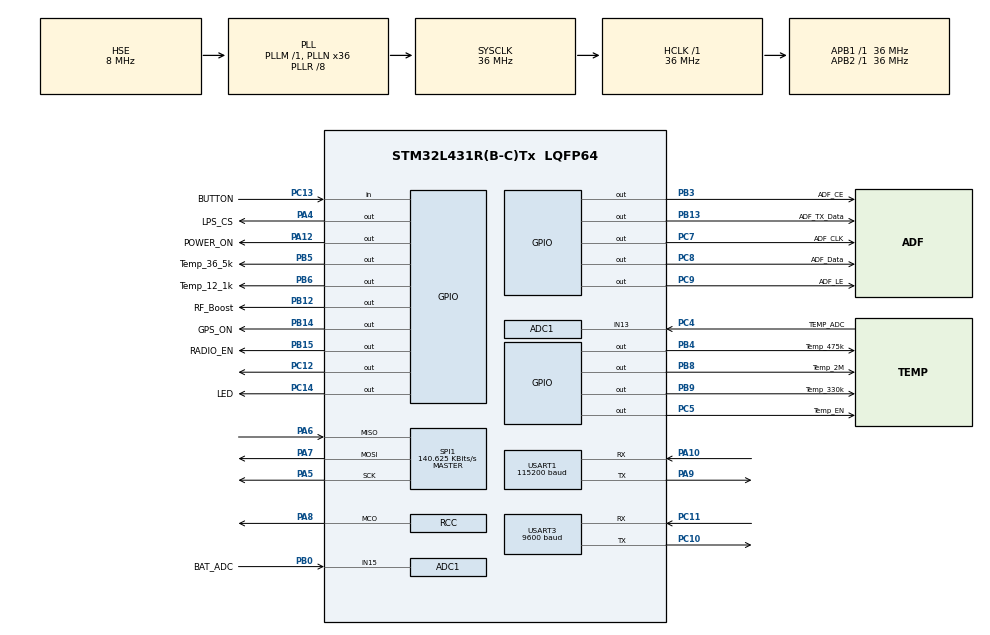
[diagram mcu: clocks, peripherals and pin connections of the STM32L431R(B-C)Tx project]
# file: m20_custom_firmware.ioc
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ADC1.Channel-1\#ChannelRegularConversion=ADC_CHANNEL_15
ADC1.Channel-2\#ChannelRegularConversion=ADC_CHANNEL_13
ADC1.ClockPrescaler=ADC_CLOCK_ASYNC_DIV128
ADC1.ContinuousConvMode=DISABLE
ADC1.DMAContinuousRequests=DISABLE
ADC1.DiscontinuousConvMode=DISABLE
ADC1.NbrOfConversion=2
ADC1.NbrOfConversionFlag=1
ADC1.OffsetNumber-1\#ChannelRegularConversion=ADC_OFFSET_NONE
ADC1.OffsetNumber-2\#ChannelRegularConversion=ADC_OFFSET_NONE
ADC1.Rank-1\#ChannelRegularConversion=1
ADC1.Rank-2\#ChannelRegularConversion=2
ADC1.SamplingTime-1\#ChannelRegularConversion=ADC_SAMPLETIME_12CYCLES_5
ADC1.SamplingTime-2\#ChannelRegularConversion=ADC_SAMPLETIME_12CYCLES_5
ADC1.master=1
Dma.Request0=USART3_RX
Dma.USART3_RX.0.Direction=DMA_PERIPH_TO_MEMORY
Dma.USART3_RX.0.Instance=DMA1_Channel3
Dma.USART3_RX.0.MemDataAlignment=DMA_MDATAALIGN_BYTE
Dma.USART3_RX.0.MemInc=DMA_MINC_ENABLE
Dma.USART3_RX.0.Mode=DMA_NORMAL
Dma.USART3_RX.0.PeriphDataAlignment=DMA_PDATAALIGN_BYTE
Dma.USART3_RX.0.PeriphInc=DMA_PINC_DISABLE
Dma.USART3_RX.0.Priority=DMA_PRIORITY_VERY_HIGH
Mcu.Family=STM32L4
Mcu.Name=STM32L431R(B-C)Tx
Mcu.Package=LQFP64
NVIC.DMA1_Channel3_IRQn=true\:0\:0\:false\:false\:true\:false\:true\:true
NVIC.PriorityGroup=NVIC_PRIORITYGROUP_4
NVIC.TIM1_UP_TIM16_IRQn=true\:0\:0\:false\:false\:true\:true\:true\:true
NVIC.TIM2_IRQn=true\:0\:0\:false\:false\:true\:true\:true\:true
PA10.Mode=Asynchronous
PA10.Signal=USART1_RX
PA12.GPIO_Label=POWER_ON
PA12.Signal=GPIO_Output
PA4.GPIO_Label=LPS_CS
PA4.Signal=GPIO_Output
PA5.Mode=Full_Duplex_Master
PA5.Signal=SPI1_SCK
PA6.Mode=Full_Duplex_Master
PA6.Signal=SPI1_MISO
PA7.Mode=Full_Duplex_Master
PA7.Signal=SPI1_MOSI
PA8.Mode=Clock-out
PA8.Signal=RCC_MCO
PA9.Mode=Asynchronous
PA9.Signal=USART1_TX
PB0.GPIO_Label=BAT_ADC
PB0.Signal=ADCx_IN15
PB12.GPIO_Label=RF_Boost
PB12.Signal=GPIO_Output
PB13.GPIO_Label=ADF_TX_Data
PB13.Signal=GPIO_Output
PB14.GPIO_Label=GPS_ON
PB14.Signal=GPIO_Output
PB15.GPIO_Label=RADIO_EN
PB15.Signal=GPIO_Output
PB3\ (JTDO-TRACESWO).GPIO_Label=ADF_CE
PB3\ (JTDO-TRACESWO).Signal=GPIO_Output
PB4\ (NJTRST).GPIO_Label=Temp_475k
PB4\ (NJTRST).GPIO_ModeDefaultOutputPP=GPIO_MODE_OUTPUT_OD
PB4\ (NJTRST).GPIO_PuPd=GPIO_NOPULL
PB4\ (NJTRST).PinState=GPIO_PIN_SET
PB4\ (NJTRST).Signal=GPIO_Output
PB5.GPIO_Label=Temp_36_5k
PB5.GPIO_ModeDefaultOutputPP=GPIO_MODE_OUTPUT_OD
PB5.GPIO_PuPd=GPIO_NOPULL
PB5.PinState=GPIO_PIN_SET
PB5.Signal=GPIO_Output
PB6.GPIO_Label=Temp_12_1k
PB6.GPIO_ModeDefaultOutputPP=GPIO_MODE_OUTPUT_OD
PB6.GPIO_PuPd=GPIO_NOPULL
PB6.PinState=GPIO_PIN_SET
PB6.Signal=GPIO_Output
PB8.GPIO_Label=Temp_2M
PB8.GPIO_ModeDefaultOutputPP=GPIO_MODE_OUTPUT_OD
PB8.GPIO_PuPd=GPIO_NOPULL
PB8.PinState=GPIO_PIN_SET
PB8.Signal=GPIO_Output
PB9.GPIO_Label=Temp_330k
PB9.GPIO_ModeDefaultOutputPP=GPIO_MODE_OUTPUT_OD
PB9.GPIO_PuPd=GPIO_NOPULL
PB9.PinState=GPIO_PIN_SET
PB9.Signal=GPIO_Output
PC10.Mode=Asynchronous
PC10.Signal=USART3_TX
PC11.Mode=Asynchronous
PC11.Signal=USART3_RX
PC12.PinState=GPIO_PIN_RESET
PC12.Signal=GPIO_Output
PC13.GPIO_Label=BUTTON
PC13.Signal=GPIO_Input
PC14-OSC32_IN\ (PC14).GPIO_Label=LED
PC14-OSC32_IN\ (PC14).Signal=GPIO_Output
PC4.GPIO_Label=TEMP_ADC
PC4.Signal=ADCx_IN13
PC5.GPIO_Label=Temp_EN
PC5.Signal=GPIO_Output
PC7.GPIO_Label=ADF_CLK
PC7.Signal=GPIO_Output
PC8.GPIO_Label=ADF_Data
PC8.Signal=GPIO_Output
PC9.GPIO_Label=ADF_LE
PC9.Signal=GPIO_Output
PH0-OSC_IN\ (PH0).Mode=HSE-External-Oscillator
PH0-OSC_IN\ (PH0).Signal=RCC_OSC_IN
PH1-OSC_OUT\ (PH1).Mode=HSE-External-Oscillator
PH1-OSC_OUT\ (PH1).Signal=RCC_OSC_OUT
ProjectManager.HeapSize=0x200
ProjectManager.StackSize=0x400
ProjectManager.TargetToolchain=STM32CubeIDE
RCC.ADCFreq_Value=32000000
RCC.AHBFreq_Value=36000000
RCC.APB1Freq_Value=36000000
RCC.APB1TimFreq_Value=36000000
RCC.APB2Freq_Value=36000000
RCC.APB2TimFreq_Value=36000000
RCC.CortexFreq_Value=36000000
RCC.HCLKFreq_Value=36000000
RCC.HSE_VALUE=8000000
RCC.HSI48_VALUE=48000000
RCC.HSI_VALUE=16000000
RCC.LSE_VALUE=32768
RCC.MSI_VALUE=4000000
RCC.PLLN=36
RCC.PLLR=RCC_PLLR_DIV8
RCC.PLLSourceVirtual=RCC_PLLSOURCE_HSE
RCC.RCC_MCO1Source=RCC_MCO1SOURCE_PLLCLK
RCC.RCC_MCODiv=RCC_MCODIV_4
RCC.SYSCLKFreq_VALUE=36000000
RCC.SYSCLKSource=RCC_SYSCLKSOURCE_PLLCLK
RCC.VCOOutputFreq_Value=288000000
SH.ADCx_IN13.0=ADC1_IN13,IN13-Single-Ended
SH.ADCx_IN15.0=ADC1_IN15,IN15-Single-Ended
SPI1.BaudRatePrescaler=SPI_BAUDRATEPRESCALER_256
SPI1.CLKPhase=SPI_PHASE_2EDGE
SPI1.CLKPolarity=SPI_POLARITY_HIGH
SPI1.CRCCalculation=SPI_CRCCALCULATION_ENABLE
SPI1.CalculateBaudRate=140.625 KBits/s
SPI1.DataSize=SPI_DATASIZE_8BIT
SPI1.Direction=SPI_DIRECTION_2LINES
SPI1.Mode=SPI_MODE_MASTER
SPI1.VirtualType=VM_MASTER
TIM1.Period=5000
TIM1.Prescaler=35999
TIM2.Period=999
TIM2.Prescaler=359
USART1.BaudRate=115200
USART1.Mode=MODE_TX_RX
USART1.VirtualMode-Asynchronous=VM_ASYNC
USART3.BaudRate=9600
USART3.Mode=MODE_RX
USART3.VirtualMode-Asynchronous=VM_ASYNC
VP_TIM1_VS_ClockSourceINT.Mode=Internal
VP_TIM2_VS_ClockSourceINT.Mode=Internal
board=custom

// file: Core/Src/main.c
/* USER CODE BEGIN Header */
/**
  ******************************************************************************
  * @file           : main.c
  * @brief          : Main program body
  ******************************************************************************
  * @attention
  *
  * Copyright (c) 2024 STMicroelectronics.
  * All rights reserved.
  *
  * This software is licensed under terms that can be found in the LICENSE file
  * in the root directory of this software component.
  * If no LICENSE file comes with this software, it is provided AS-IS.
  *
  ******************************************************************************
  */
/* USER CODE END Header */
#include "main.h"

/* USER CODE BEGIN Includes */
#include "nmea.h"
#include "lps22hb.h"
#include "horus.h"
#include "adf.h"
#include "fsk4.h"
#include "config.h"
/* USER CODE END Includes */

ADC_HandleTypeDef hadc1;

SPI_HandleTypeDef hspi1;

TIM_HandleTypeDef htim1;
TIM_HandleTypeDef htim2;

UART_HandleTypeDef huart1;
UART_HandleTypeDef huart3;
DMA_HandleTypeDef hdma_usart3_rx;

/* USER CODE BEGIN PV */
uint16_t newPos = 0;
uint16_t oldPos = 0;
uint8_t RxBuffer[RxBuffer_SIZE];
uint8_t DataBuffer[DataBuffer_SIZE];
uint8_t OldDataBuffer[DataBuffer_SIZE];

uint16_t counter = 0;

//create a GPS NMEA data structure
NMEA NmeaData;
HorusBinaryPacket BinaryPacket;

char codedbuffer[200];
char buf_debug[200];
uint16_t coded_len;

uint32_t ADC_VBat;
uint32_t ADC_Temp;

/* USER CODE END PV */

void SystemClock_Config(void);
static void MX_GPIO_Init(void);
static void MX_DMA_Init(void);
static void MX_USART1_UART_Init(void);
static void MX_USART3_UART_Init(void);
static void MX_SPI1_Init(void);
static void MX_ADC1_Init(void);
static void MX_TIM2_Init(void);
static void MX_TIM1_Init(void);

/* USER CODE BEGIN 0 */
void main_loop(){
	  HAL_GPIO_TogglePin(LED_GPIO_Port, LED_Pin);

	  ParseNMEA(&NmeaData, DataBuffer);
	 //HAL_UART_Transmit(&huart1, DataBuffer, DataBuffer_SIZE, 2000);

	  char* str;

	  str = (char*)malloc(sizeof(char)*210);
	  sprintf(str, "\r\nFix: %d, Lat: %f, Lon: %f, Alt: %f m, Speed: %f km/h, Ascent rate: %f, Satellites: %d HDOP: %f, Time: %d:%d:%d, correct frames: %d\r\n",
	          NmeaData.Fix, NmeaData.Lat, NmeaData.Lon, NmeaData.Alt, NmeaData.Speed, NmeaData.AscentRate, NmeaData.Sats, NmeaData.HDOP, NmeaData.Hours, NmeaData.Minutes, NmeaData.Seconds, NmeaData.Corr);
	  HAL_UART_Transmit(&huart1, (uint8_t *)str, strlen(str), 1000);
	  free(str);

	  HAL_ADC_Start(&hadc1); // start the adc
	  HAL_ADC_PollForConversion(&hadc1, 100); // poll for conversion
	  ADC_VBat= HAL_ADC_GetValue(&hadc1);
	  HAL_ADC_PollForConversion(&hadc1, 100); // poll for conversion
	  ADC_Temp = HAL_ADC_GetValue(&hadc1);
	  HAL_ADC_Stop(&hadc1); // stop adc
	  str = (char*)malloc(sizeof(char)*48);

	  sprintf(str, "ADCBAT: %d ADCTEMP: %d\r\n", ADC_VBat, ADC_Temp);
	  //HAL_UART_Transmit(&huart1, (uint8_t *)str, strlen(str), 1000);
	  free(str);
	  str = (char*)malloc(sizeof(char)*100);
	  sprintf(str, "LPS22: temp: %f, press: %f\r\n", LPS22_GetTemperature(), LPS22_GetPressure());
	  //HAL_UART_Transmit(&huart1, (uint8_t *)str, strlen(str), 1000);
	  free(str);

	  /* ------------- */
	  /* HORUS PACKAGE */
	  BinaryPacket.PayloadID = PAYLOAD_ID;
	  BinaryPacket.PacketCount = counter;
	  BinaryPacket.Hours = NmeaData.Hours;
	  BinaryPacket.Minutes = NmeaData.Minutes;
	  BinaryPacket.Seconds = NmeaData.Seconds;
	  BinaryPacket.Lat = NmeaData.Lat;
	  BinaryPacket.Lon = NmeaData.Lon;
	  BinaryPacket.Speed = (uint16_t)round(NmeaData.Speed);
	  BinaryPacket.AscentRate = (uint16_t)round(NmeaData.AscentRate);
	  BinaryPacket.Alt = (uint16_t)round(NmeaData.Alt);
	  BinaryPacket.Sats = NmeaData.Sats;
	  BinaryPacket.BatVoltage = (uint16_t)round((float)(ADC_VBat*255)/5000);

	  BinaryPacket.Temp = LPS22_GetTemperature();
	  BinaryPacket.ExtTemp = 0;
	  BinaryPacket.Press = LPS22_GetPressure()*10.0;
	  BinaryPacket.Hum = 0;

	  BinaryPacket.Checksum = (uint16_t)crc16((char*)&BinaryPacket,sizeof(BinaryPacket)-2);

	  int pkt_len = sizeof(BinaryPacket);
	  // Write Preamble characters into mfsk buffer.
	  //sprintf(buf_mfsk, "\x1b\x1b\x1b\x1b");
	  //memset(buf_debug, 0, sizeof(buf_debug));
	  //print_hex((char*)&BinaryPacket, pkt_len, buf_debug);

	  //HAL_UART_Transmit(&huart1, (uint8_t *)buf_debug, 128, 1000);
	  //HAL_UART_Transmit(&huart1, (uint8_t *)"\r\n", 2, 1000);

	  int coded_len = horus_l2_encode_tx_packet((unsigned char*)codedbuffer,(unsigned char*)&BinaryPacket,pkt_len);

	  memset(buf_debug, 0, sizeof(buf_debug));
	  print_hex(codedbuffer, coded_len, buf_debug);

	  //HAL_UART_Transmit(&huart1, (uint8_t *)buf_debug, 200, 1000);
	  //HAL_UART_Transmit(&huart1, (uint8_t *)"\r\n", 2, 1000);
	  FSK4_start_TX(&codedbuffer[0], coded_len);
	  counter++;
	  /* HORUS PACKAGE */
	  /* ------------- */

	  HAL_GPIO_TogglePin(LED_GPIO_Port, LED_Pin);
}
/* USER CODE END 0 */

int main(void)
{

  /* MCU Configuration--------------------------------------------------------*/

  /* Reset of all peripherals, Initializes the Flash interface and the Systick. */
  HAL_Init();

  /* Configure the system clock */
  SystemClock_Config();

  /* Initialize all configured peripherals */
  MX_GPIO_Init();
  MX_DMA_Init();
  MX_USART1_UART_Init();
  MX_USART3_UART_Init();
  MX_SPI1_Init();
  MX_ADC1_Init();
  MX_TIM2_Init();
  MX_TIM1_Init();
  /* USER CODE BEGIN 2 */
  HAL_GPIO_WritePin(POWER_ON_GPIO_Port, POWER_ON_Pin, 1);
  HAL_GPIO_WritePin(GPS_ON_GPIO_Port, GPS_ON_Pin, 1);
  HAL_GPIO_WritePin(Temp_EN_GPIO_Port, Temp_EN_Pin, 1);

  adf_setup();   //prepares radio chip - leaves radio enabled. Has to be called when radio is turned on

  HAL_ADCEx_Calibration_Start(&hadc1, ADC_SINGLE_ENDED);

  __HAL_SPI_ENABLE(&hspi1);
  LPS22_Config();
  LPS22_Init();

  HAL_UARTEx_ReceiveToIdle_DMA(&huart3, (uint8_t *)RxBuffer, RxBuffer_SIZE); //re-enable the DMA interrupt
  __HAL_DMA_DISABLE_IT(&hdma_usart3_rx, DMA_IT_HT); //disable the half transfer interrupt

  HAL_TIM_Base_Start_IT(&htim1);
  /* USER CODE END 2 */

  /* Infinite loop */
  while (1)
  {

  }
}

void SystemClock_Config(void)
{
  RCC_OscInitTypeDef RCC_OscInitStruct = {0};
  RCC_ClkInitTypeDef RCC_ClkInitStruct = {0};

  /** Configure the main internal regulator output voltage
  */
  if (HAL_PWREx_ControlVoltageScaling(PWR_REGULATOR_VOLTAGE_SCALE1) != HAL_OK)
  {
    Error_Handler();
  }

  /** Initializes the RCC Oscillators according to the specified parameters
  * in the RCC_OscInitTypeDef structure.
  */
  RCC_OscInitStruct.OscillatorType = RCC_OSCILLATORTYPE_HSE;
  RCC_OscInitStruct.HSEState = RCC_HSE_ON;
  RCC_OscInitStruct.PLL.PLLState = RCC_PLL_ON;
  RCC_OscInitStruct.PLL.PLLSource = RCC_PLLSOURCE_HSE;
  RCC_OscInitStruct.PLL.PLLM = 1;
  RCC_OscInitStruct.PLL.PLLN = 36;
  RCC_OscInitStruct.PLL.PLLP = RCC_PLLP_DIV7;
  RCC_OscInitStruct.PLL.PLLQ = RCC_PLLQ_DIV2;
  RCC_OscInitStruct.PLL.PLLR = RCC_PLLR_DIV8;
  if (HAL_RCC_OscConfig(&RCC_OscInitStruct) != HAL_OK)
  {
    Error_Handler();
  }

  /** Initializes the CPU, AHB and APB buses clocks
  */
  RCC_ClkInitStruct.ClockType = RCC_CLOCKTYPE_HCLK|RCC_CLOCKTYPE_SYSCLK
                              |RCC_CLOCKTYPE_PCLK1|RCC_CLOCKTYPE_PCLK2;
  RCC_ClkInitStruct.SYSCLKSource = RCC_SYSCLKSOURCE_PLLCLK;
  RCC_ClkInitStruct.AHBCLKDivider = RCC_SYSCLK_DIV1;
  RCC_ClkInitStruct.APB1CLKDivider = RCC_HCLK_DIV1;
  RCC_ClkInitStruct.APB2CLKDivider = RCC_HCLK_DIV1;

  if (HAL_RCC_ClockConfig(&RCC_ClkInitStruct, FLASH_LATENCY_2) != HAL_OK)
  {
    Error_Handler();
  }
  __HAL_RCC_PLLCLKOUT_ENABLE(RCC_PLL_SYSCLK);
  HAL_RCC_MCOConfig(RCC_MCO1, RCC_MCO1SOURCE_PLLCLK, RCC_MCODIV_4);
}

static void MX_ADC1_Init(void)
{

  ADC_ChannelConfTypeDef sConfig = {0};

  /** Common config
  */
  hadc1.Instance = ADC1;
  hadc1.Init.ClockPrescaler = ADC_CLOCK_ASYNC_DIV128;
  hadc1.Init.Resolution = ADC_RESOLUTION_12B;
  hadc1.Init.DataAlign = ADC_DATAALIGN_RIGHT;
  hadc1.Init.ScanConvMode = ADC_SCAN_ENABLE;
  hadc1.Init.EOCSelection = ADC_EOC_SINGLE_CONV;
  hadc1.Init.LowPowerAutoWait = DISABLE;
  hadc1.Init.ContinuousConvMode = DISABLE;
  hadc1.Init.NbrOfConversion = 2;
  hadc1.Init.DiscontinuousConvMode = DISABLE;
  hadc1.Init.ExternalTrigConv = ADC_SOFTWARE_START;
  hadc1.Init.ExternalTrigConvEdge = ADC_EXTERNALTRIGCONVEDGE_NONE;
  hadc1.Init.DMAContinuousRequests = DISABLE;
  hadc1.Init.Overrun = ADC_OVR_DATA_PRESERVED;
  hadc1.Init.OversamplingMode = DISABLE;
  if (HAL_ADC_Init(&hadc1) != HAL_OK)
  {
    Error_Handler();
  }

  /** Configure Regular Channel
  */
  sConfig.Channel = ADC_CHANNEL_15;
  sConfig.Rank = ADC_REGULAR_RANK_1;
  sConfig.SamplingTime = ADC_SAMPLETIME_12CYCLES_5;
  sConfig.SingleDiff = ADC_SINGLE_ENDED;
  sConfig.OffsetNumber = ADC_OFFSET_NONE;
  sConfig.Offset = 0;
  if (HAL_ADC_ConfigChannel(&hadc1, &sConfig) != HAL_OK)
  {
    Error_Handler();
  }

  /** Configure Regular Channel
  */
  sConfig.Channel = ADC_CHANNEL_13;
  sConfig.Rank = ADC_REGULAR_RANK_2;
  if (HAL_ADC_ConfigChannel(&hadc1, &sConfig) != HAL_OK)
  {
    Error_Handler();
  }

}

static void MX_SPI1_Init(void)
{

  /* SPI1 parameter configuration*/
  hspi1.Instance = SPI1;
  hspi1.Init.Mode = SPI_MODE_MASTER;
  hspi1.Init.Direction = SPI_DIRECTION_2LINES;
  hspi1.Init.DataSize = SPI_DATASIZE_8BIT;
  hspi1.Init.CLKPolarity = SPI_POLARITY_HIGH;
  hspi1.Init.CLKPhase = SPI_PHASE_2EDGE;
  hspi1.Init.NSS = SPI_NSS_SOFT;
  hspi1.Init.BaudRatePrescaler = SPI_BAUDRATEPRESCALER_256;
  hspi1.Init.FirstBit = SPI_FIRSTBIT_MSB;
  hspi1.Init.TIMode = SPI_TIMODE_DISABLE;
  hspi1.Init.CRCCalculation = SPI_CRCCALCULATION_ENABLE;
  hspi1.Init.CRCPolynomial = 7;
  hspi1.Init.CRCLength = SPI_CRC_LENGTH_DATASIZE;
  hspi1.Init.NSSPMode = SPI_NSS_PULSE_DISABLE;
  if (HAL_SPI_Init(&hspi1) != HAL_OK)
  {
    Error_Handler();
  }

}

static void MX_TIM1_Init(void)
{

  TIM_ClockConfigTypeDef sClockSourceConfig = {0};
  TIM_MasterConfigTypeDef sMasterConfig = {0};

  htim1.Instance = TIM1;
  htim1.Init.Prescaler = 35999;
  htim1.Init.CounterMode = TIM_COUNTERMODE_UP;
  htim1.Init.Period = 5000;
  htim1.Init.ClockDivision = TIM_CLOCKDIVISION_DIV1;
  htim1.Init.RepetitionCounter = 0;
  htim1.Init.AutoReloadPreload = TIM_AUTORELOAD_PRELOAD_DISABLE;
  if (HAL_TIM_Base_Init(&htim1) != HAL_OK)
  {
    Error_Handler();
  }
  sClockSourceConfig.ClockSource = TIM_CLOCKSOURCE_INTERNAL;
  if (HAL_TIM_ConfigClockSource(&htim1, &sClockSourceConfig) != HAL_OK)
  {
    Error_Handler();
  }
  sMasterConfig.MasterOutputTrigger = TIM_TRGO_RESET;
  sMasterConfig.MasterOutputTrigger2 = TIM_TRGO2_RESET;
  sMasterConfig.MasterSlaveMode = TIM_MASTERSLAVEMODE_DISABLE;
  if (HAL_TIMEx_MasterConfigSynchronization(&htim1, &sMasterConfig) != HAL_OK)
  {
    Error_Handler();
  }

}

static void MX_TIM2_Init(void)
{

  TIM_ClockConfigTypeDef sClockSourceConfig = {0};
  TIM_MasterConfigTypeDef sMasterConfig = {0};

  htim2.Instance = TIM2;
  htim2.Init.Prescaler = 359;
  htim2.Init.CounterMode = TIM_COUNTERMODE_UP;
  htim2.Init.Period = 999;
  htim2.Init.ClockDivision = TIM_CLOCKDIVISION_DIV1;
  htim2.Init.AutoReloadPreload = TIM_AUTORELOAD_PRELOAD_DISABLE;
  if (HAL_TIM_Base_Init(&htim2) != HAL_OK)
  {
    Error_Handler();
  }
  sClockSourceConfig.ClockSource = TIM_CLOCKSOURCE_INTERNAL;
  if (HAL_TIM_ConfigClockSource(&htim2, &sClockSourceConfig) != HAL_OK)
  {
    Error_Handler();
  }
  sMasterConfig.MasterOutputTrigger = TIM_TRGO_RESET;
  sMasterConfig.MasterSlaveMode = TIM_MASTERSLAVEMODE_DISABLE;
  if (HAL_TIMEx_MasterConfigSynchronization(&htim2, &sMasterConfig) != HAL_OK)
  {
    Error_Handler();
  }

}

static void MX_USART1_UART_Init(void)
{

  huart1.Instance = USART1;
  huart1.Init.BaudRate = 115200;
  huart1.Init.WordLength = UART_WORDLENGTH_8B;
  huart1.Init.StopBits = UART_STOPBITS_1;
  huart1.Init.Parity = UART_PARITY_NONE;
  huart1.Init.Mode = UART_MODE_TX_RX;
  huart1.Init.HwFlowCtl = UART_HWCONTROL_NONE;
  huart1.Init.OverSampling = UART_OVERSAMPLING_16;
  huart1.Init.OneBitSampling = UART_ONE_BIT_SAMPLE_DISABLE;
  huart1.AdvancedInit.AdvFeatureInit = UART_ADVFEATURE_NO_INIT;
  if (HAL_UART_Init(&huart1) != HAL_OK)
  {
    Error_Handler();
  }

}

static void MX_USART3_UART_Init(void)
{

  huart3.Instance = USART3;
  huart3.Init.BaudRate = 9600;
  huart3.Init.WordLength = UART_WORDLENGTH_8B;
  huart3.Init.StopBits = UART_STOPBITS_1;
  huart3.Init.Parity = UART_PARITY_NONE;
  huart3.Init.Mode = UART_MODE_RX;
  huart3.Init.HwFlowCtl = UART_HWCONTROL_NONE;
  huart3.Init.OverSampling = UART_OVERSAMPLING_16;
  huart3.Init.OneBitSampling = UART_ONE_BIT_SAMPLE_DISABLE;
  huart3.AdvancedInit.AdvFeatureInit = UART_ADVFEATURE_NO_INIT;
  if (HAL_UART_Init(&huart3) != HAL_OK)
  {
    Error_Handler();
  }

}

static void MX_DMA_Init(void)
{

  /* DMA controller clock enable */
  __HAL_RCC_DMA1_CLK_ENABLE();

  /* DMA interrupt init */
  /* DMA1_Channel3_IRQn interrupt configuration */
  HAL_NVIC_SetPriority(DMA1_Channel3_IRQn, 0, 0);
  HAL_NVIC_EnableIRQ(DMA1_Channel3_IRQn);

}

static void MX_GPIO_Init(void)
{
  GPIO_InitTypeDef GPIO_InitStruct = {0};

  /* GPIO Ports Clock Enable */
  __HAL_RCC_GPIOC_CLK_ENABLE();
  __HAL_RCC_GPIOH_CLK_ENABLE();
  __HAL_RCC_GPIOA_CLK_ENABLE();
  __HAL_RCC_GPIOB_CLK_ENABLE();

  /*Configure GPIO pin Output Level */
  HAL_GPIO_WritePin(GPIOC, LED_Pin|Temp_EN_Pin|ADF_CLK_Pin|ADF_Data_Pin
                          |ADF_LE_Pin|GPIO_PIN_12, GPIO_PIN_RESET);

  /*Configure GPIO pin Output Level */
  HAL_GPIO_WritePin(GPIOA, LPS_CS_Pin|POWER_ON_Pin, GPIO_PIN_RESET);

  /*Configure GPIO pin Output Level */
  HAL_GPIO_WritePin(GPIOB, RF_Boost_Pin|ADF_TX_Data_Pin|GPS_ON_Pin|RADIO_EN_Pin
                          |ADF_CE_Pin, GPIO_PIN_RESET);

  /*Configure GPIO pin Output Level */
  HAL_GPIO_WritePin(GPIOB, Temp_475k_Pin|Temp_36_5k_Pin|Temp_12_1k_Pin|Temp_2M_Pin
                          |Temp_330k_Pin, GPIO_PIN_SET);

  /*Configure GPIO pin : BUTTON_Pin */
  GPIO_InitStruct.Pin = BUTTON_Pin;
  GPIO_InitStruct.Mode = GPIO_MODE_INPUT;
  GPIO_InitStruct.Pull = GPIO_NOPULL;
  HAL_GPIO_Init(BUTTON_GPIO_Port, &GPIO_InitStruct);

  /*Configure GPIO pins : LED_Pin Temp_EN_Pin ADF_CLK_Pin ADF_Data_Pin
                           ADF_LE_Pin PC12 */
  GPIO_InitStruct.Pin = LED_Pin|Temp_EN_Pin|ADF_CLK_Pin|ADF_Data_Pin
                          |ADF_LE_Pin|GPIO_PIN_12;
  GPIO_InitStruct.Mode = GPIO_MODE_OUTPUT_PP;
  GPIO_InitStruct.Pull = GPIO_NOPULL;
  GPIO_InitStruct.Speed = GPIO_SPEED_FREQ_LOW;
  HAL_GPIO_Init(GPIOC, &GPIO_InitStruct);

  /*Configure GPIO pins : LPS_CS_Pin POWER_ON_Pin */
  GPIO_InitStruct.Pin = LPS_CS_Pin|POWER_ON_Pin;
  GPIO_InitStruct.Mode = GPIO_MODE_OUTPUT_PP;
  GPIO_InitStruct.Pull = GPIO_NOPULL;
  GPIO_InitStruct.Speed = GPIO_SPEED_FREQ_LOW;
  HAL_GPIO_Init(GPIOA, &GPIO_InitStruct);

  /*Configure GPIO pins : RF_Boost_Pin ADF_TX_Data_Pin GPS_ON_Pin RADIO_EN_Pin
                           ADF_CE_Pin */
  GPIO_InitStruct.Pin = RF_Boost_Pin|ADF_TX_Data_Pin|GPS_ON_Pin|RADIO_EN_Pin
                          |ADF_CE_Pin;
  GPIO_InitStruct.Mode = GPIO_MODE_OUTPUT_PP;
  GPIO_InitStruct.Pull = GPIO_NOPULL;
  GPIO_InitStruct.Speed = GPIO_SPEED_FREQ_LOW;
  HAL_GPIO_Init(GPIOB, &GPIO_InitStruct);

  /*Configure GPIO pin : PA8 */
  GPIO_InitStruct.Pin = GPIO_PIN_8;
  GPIO_InitStruct.Mode = GPIO_MODE_AF_PP;
  GPIO_InitStruct.Pull = GPIO_NOPULL;
  GPIO_InitStruct.Speed = GPIO_SPEED_FREQ_LOW;
  GPIO_InitStruct.Alternate = GPIO_AF0_MCO;
  HAL_GPIO_Init(GPIOA, &GPIO_InitStruct);

  /*Configure GPIO pins : Temp_475k_Pin Temp_36_5k_Pin Temp_12_1k_Pin Temp_2M_Pin
                           Temp_330k_Pin */
  GPIO_InitStruct.Pin = Temp_475k_Pin|Temp_36_5k_Pin|Temp_12_1k_Pin|Temp_2M_Pin
                          |Temp_330k_Pin;
  GPIO_InitStruct.Mode = GPIO_MODE_OUTPUT_OD;
  GPIO_InitStruct.Pull = GPIO_NOPULL;
  GPIO_InitStruct.Speed = GPIO_SPEED_FREQ_LOW;
  HAL_GPIO_Init(GPIOB, &GPIO_InitStruct);

}

/* USER CODE BEGIN 4 */
void HAL_UARTEx_RxEventCallback(UART_HandleTypeDef *huart, uint16_t Size)
{
	if(huart->Instance == USART3){
		oldPos = newPos; //keep track of the last position in the buffer
    	if(oldPos + Size > DataBuffer_SIZE){ //if the buffer is full, parse it, then reset the buffer

        	uint16_t datatocopy = DataBuffer_SIZE-oldPos;  // find out how much space is left in the main buffer
        	memcpy ((uint8_t *)DataBuffer+oldPos, RxBuffer, datatocopy);  // copy data in that remaining space

        	oldPos = 0;  // point to the start of the buffer
        	memcpy ((uint8_t *)DataBuffer, (uint8_t *)RxBuffer+datatocopy, (Size-datatocopy));  // copy the remaining data
        	newPos = (Size-datatocopy);  // update the position
    	}else{
        	memcpy((uint8_t *)DataBuffer+oldPos, RxBuffer, Size); //copy received data to the buffer
        	newPos = Size+oldPos; //update buffer position

    	}
    	HAL_UARTEx_ReceiveToIdle_DMA(&huart3, (uint8_t *)RxBuffer, RxBuffer_SIZE); //re-enable the DMA interrupt
    	__HAL_DMA_DISABLE_IT(&hdma_usart3_rx, DMA_IT_HT); //disable the half transfer interrupt
	}
}
void HAL_TIM_PeriodElapsedCallback(TIM_HandleTypeDef *htim){
    if(htim->Instance == TIM2)  //timer responsible for baudrate generation
    {
        if (FSK4_is_active()) {     //check if we are transmitting in 4FSK mode

              FSK4_timer_handler();
        }
    }else if(htim->Instance == TIM1){
    	main_loop();
    }
}
/* USER CODE END 4 */

void Error_Handler(void)
{
  __disable_irq();
  while (1)
  {
  }
}
